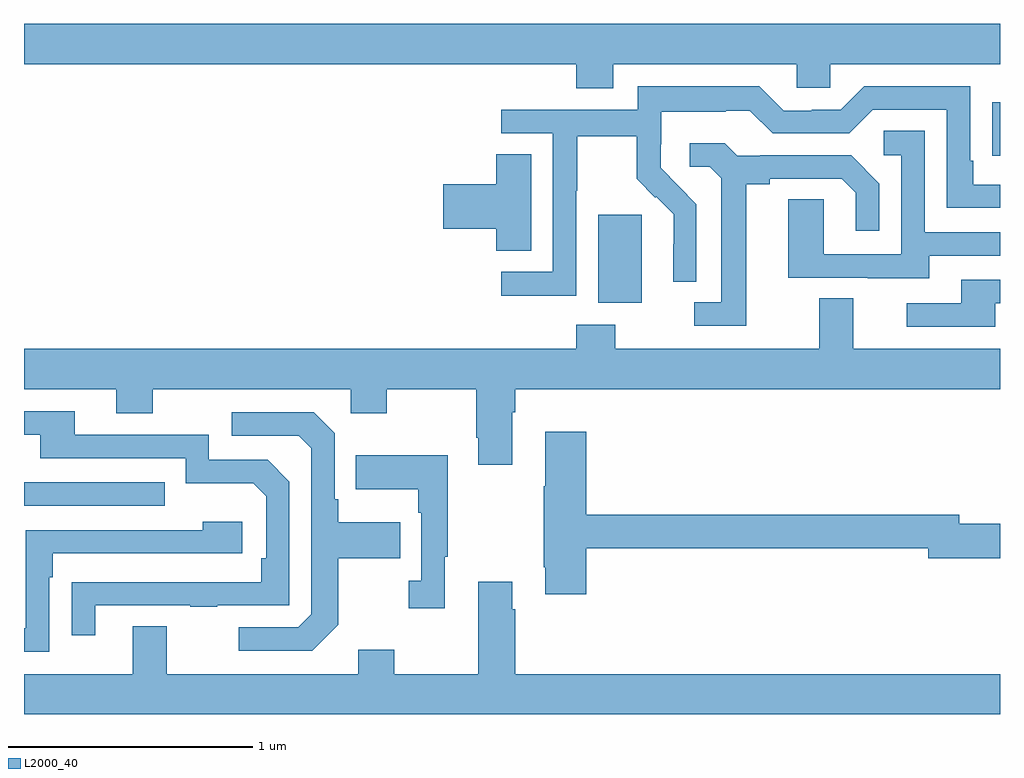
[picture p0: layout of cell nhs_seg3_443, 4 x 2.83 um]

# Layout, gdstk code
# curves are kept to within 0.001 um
import gdstk
lib = gdstk.Library(unit=1e-6, precision=1e-09)
def R(c, l, rs):  # rectangles x0, y0, x1, y1
    for r in rs: c.add(gdstk.rectangle(r[:2], r[2:], *l))
def P(c, l, *ps):  # polygons
    for p in ps: c.add(gdstk.Polygon(p, *l))
L2000_40 = (2000, 40)

nhs_seg3_443 = lib.new_cell('nhs_seg3_443')
R(nhs_seg3_443, L2000_40, [(133,693.777,133.577,693.873), (135.353,694.61,135.532,694.971), (136.969,695.212,137,695.431)])
P(nhs_seg3_443, L2000_40, [(135.415,695.588),(136.167,695.588),(136.167,695.49),(136.305,695.49),(136.305,695.588),(137,695.588),(137,695.752),(133,695.752),(133,695.588),(135.263,695.588),(135.263,695.489),(135.415,695.489)],
  [(135.264,695.068),(135.267,695.068),(135.267,695.292),(135.511,695.292),(135.511,695.117),(135.588,695.04),(135.591,695.043),(135.662,694.973),(135.662,694.85),(135.66,694.85),(135.66,694.696),(135.756,694.696),(135.756,695.014),(135.61,695.162),(135.61,695.259),(135.612,695.259),(135.612,695.393),(135.875,695.393),(135.875,695.397),(135.975,695.397),(136.068,695.304),(136.383,695.304),(136.479,695.4),(136.782,695.4),(136.782,694.998),(137,694.998),(137,695.094),(136.891,695.094),(136.891,695.191),(136.878,695.191),(136.878,695.496),(136.443,695.496),(136.347,695.4),(136.229,695.4),(136.229,695.397),(136.113,695.397),(136.013,695.497),(135.516,695.497),(135.516,695.4),(134.955,695.4),(134.955,695.304),(135.168,695.304),(135.168,694.737),(134.955,694.737),(134.955,694.639),(135.264,694.639)],
  [(136.711,694.803),(137,694.803),(137,694.899),(136.692,694.899),(136.692,695.315),(136.524,695.315),(136.524,695.214),(136.596,695.214),(136.596,694.809),(136.278,694.809),(136.278,695.033),(136.133,695.033),(136.133,694.713),(136.457,694.713),(136.457,694.709),(136.711,694.709)],
  [(135.961,695.096),(136.057,695.096),(136.057,695.118),(136.352,695.118),(136.409,695.061),(136.409,694.905),(136.506,694.905),(136.506,695.098),(136.39,695.214),(136.018,695.214),(136.018,695.211),(135.924,695.211),(135.872,695.263),(135.729,695.263),(135.729,695.166),(135.81,695.166),(135.857,695.119),(135.857,694.611),(135.747,694.611),(135.747,694.515),(135.961,694.515)],
  [(135.079,695.219),(134.936,695.219),(134.936,695.096),(134.718,695.096),(134.718,694.913),(134.936,694.913),(134.936,694.822),(135.079,694.822)],
  [(136.981,694.608),(137,694.608),(137,694.704),(136.841,694.704),(136.841,694.608),(136.617,694.608),(136.617,694.512),(136.981,694.512)],
  [(135.001,694.16),(135.014,694.16),(135.014,694.256),(137,694.256),(137,694.42),(136.399,694.42),(136.399,694.628),(136.259,694.628),(136.259,694.42),(135.423,694.42),(135.423,694.519),(135.263,694.519),(135.263,694.42),(133,694.42),(133,694.256),(133.379,694.256),(133.379,694.157),(133.527,694.157),(133.527,694.256),(134.34,694.256),(134.34,694.157),(134.487,694.157),(134.487,694.256),(134.854,694.256),(134.854,694.057),(134.861,694.057),(134.861,693.945),(135.001,693.945)],
  [(133.291,693.369),(133.681,693.369),(133.681,693.364),(133.793,693.364),(133.793,693.369),(134.088,693.369),(134.088,693.876),(133.998,693.966),(133.758,693.966),(133.758,694.068),(133.207,694.068),(133.207,694.164),(133,694.164),(133,694.068),(133.067,694.068),(133.067,693.972),(133.662,693.972),(133.662,693.869),(133.939,693.869),(133.992,693.816),(133.992,693.562),(133.972,693.562),(133.972,693.465),(133.195,693.464),(133.195,693.246),(133.291,693.246)],
  [(134.287,693.289),(134.287,693.562),(134.543,693.562),(134.543,693.709),(134.287,693.709),(134.287,693.805),(134.274,693.805),(134.274,694.074),(134.187,694.161),(133.851,694.161),(133.851,694.065),(134.127,694.065),(134.178,694.014),(134.178,693.333),(134.124,693.279),(133.881,693.279),(133.881,693.183),(134.181,693.183)],
  [(135.305,693.604),(136.706,693.604),(136.706,693.562),(137,693.562),(137,693.704),(136.834,693.704),(136.834,693.74),(135.305,693.74),(135.305,694.081),(135.137,694.081),(135.137,693.857),(135.13,693.857),(135.13,693.526),(135.137,693.526),(135.137,693.414),(135.305,693.414)],
  [(134.725,693.569),(134.737,693.569),(134.737,693.985),(134.359,693.985),(134.359,693.845),(134.616,693.845),(134.616,693.749),(134.628,693.749),(134.628,693.47),(134.577,693.47),(134.577,693.357),(134.725,693.357)],
  [(133.104,693.485),(133.117,693.485),(133.117,693.582),(133.894,693.582),(133.894,693.712),(133.733,693.712),(133.733,693.678),(133.008,693.678),(133.008,693.276),(133,693.276),(133,693.18),(133.104,693.18)],
  [(137,693.088),(135.014,693.088),(135.014,693.353),(135.001,693.353),(135.001,693.466),(134.861,693.466),(134.861,693.088),(134.517,693.088),(134.517,693.187),(134.369,693.187),(134.369,693.088),(133.585,693.088),(133.585,693.283),(133.445,693.283),(133.445,693.088),(133,693.088),(133,692.924),(137,692.924)])

lib.write_gds('nhs_seg3_443.gds')
